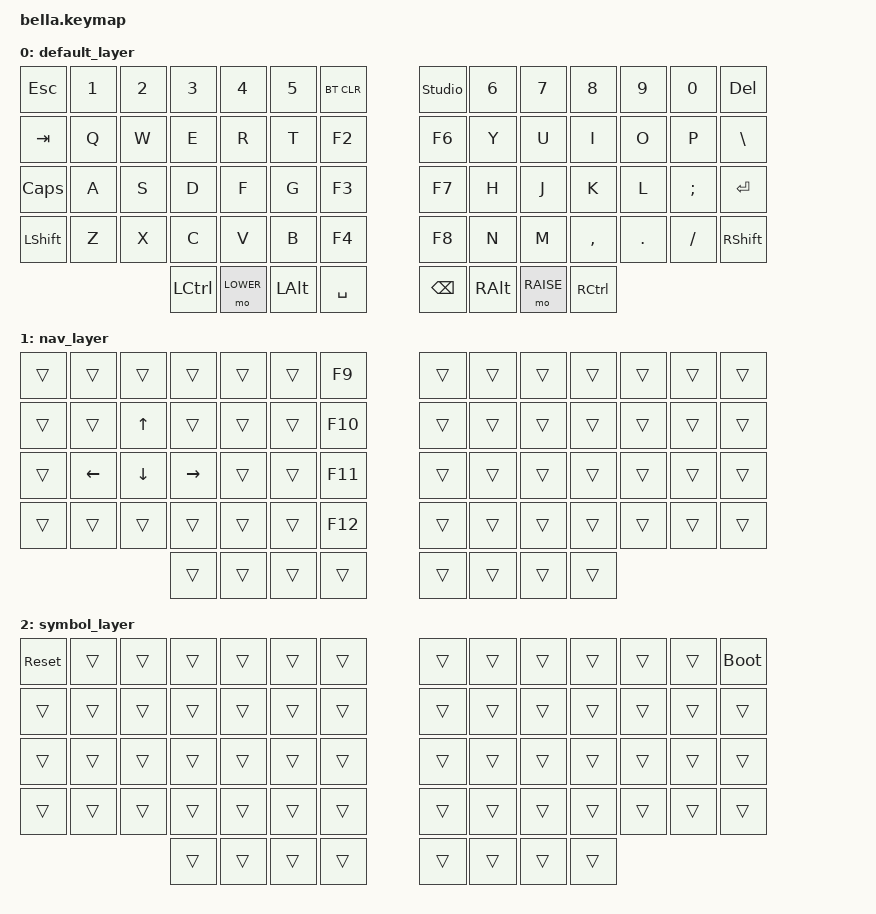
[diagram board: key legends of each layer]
/*
 * Copyright (c) 2023 The ZMK Contributors
 *
 * SPDX-License-Identifier: MIT
 */

#define DEFAULT 0
#define LOWER   1
#define RAISE   2

#include <behaviors.dtsi>
#include <dt-bindings/zmk/keys.h>
#include <dt-bindings/zmk/bt.h>
#include <dt-bindings/zmk/outputs.h>
#include <dt-bindings/zmk/bt.h>

/ {
    keymap {
        compatible = "zmk,keymap";

        default_layer {
            bindings = <
    &kp ESC     &kp N1    &kp N2    &kp N3     &kp N4    &kp N5   &bt BT_CLR           &studio_unlock  &kp N6   &kp N7    &kp N8    &kp N9   &kp N0   &kp DEL
    &kp TAB     &kp Q     &kp W     &kp E      &kp R     &kp T    &kp F2               &kp F6          &kp Y    &kp U     &kp I     &kp O    &kp P    &kp BSLH
    &kp CAPS    &kp A     &kp S     &kp D      &kp F     &kp G    &kp F3               &kp F7          &kp H    &kp J     &kp K     &kp L    &kp SEMI &kp RET                   
    &kp LSHIFT  &kp Z     &kp X     &kp C      &kp V     &kp B    &kp F4               &kp F8          &kp N    &kp M     &kp COMMA &kp DOT  &kp FSLH &kp RSHIFT  
                                    &kp LCTRL  &mo LOWER &kp LALT &kp SPACE            &kp BSPC        &kp RALT &mo RAISE &kp RCTRL 
            >;
        };

        nav_layer {
            bindings = <
    &trans     &trans    &trans    &trans     &trans    &trans   &kp F9               &trans   &trans   &trans  &trans  &trans  &trans  &trans
    &trans     &trans    &kp UP    &trans     &trans    &trans   &kp F10              &trans   &trans   &trans  &trans  &trans  &trans  &trans
    &trans     &kp LEFT  &kp DOWN  &kp RIGHT  &trans    &trans   &kp F11              &trans   &trans   &trans  &trans  &trans  &trans  &trans                   
    &trans     &trans    &trans    &trans     &trans    &trans   &kp F12              &trans   &trans   &trans  &trans  &trans  &trans  &trans  
                                   &trans     &trans    &trans   &trans               &trans   &trans   &trans  &trans
            >;
        };

        symbol_layer {
            bindings = <
    &sys_reset &trans    &trans    &trans     &trans    &trans   &trans               &trans   &trans   &trans  &trans  &trans  &trans  &bootloader
    &trans     &trans    &trans    &trans     &trans    &trans   &trans               &trans   &trans   &trans  &trans  &trans  &trans  &trans
    &trans     &trans    &trans    &trans     &trans    &trans   &trans               &trans   &trans   &trans  &trans  &trans  &trans  &trans                   
    &trans     &trans    &trans    &trans     &trans    &trans   &trans               &trans   &trans   &trans  &trans  &trans  &trans  &trans  
                                   &trans     &trans    &trans   &trans               &trans   &trans   &trans  &trans
            >;
        };
    };
};
